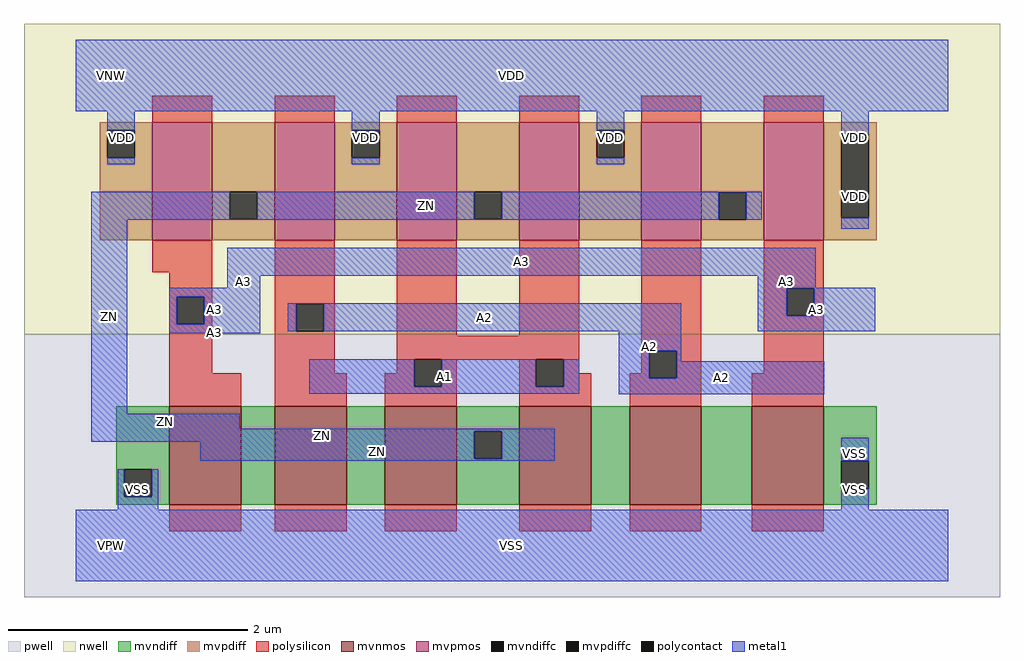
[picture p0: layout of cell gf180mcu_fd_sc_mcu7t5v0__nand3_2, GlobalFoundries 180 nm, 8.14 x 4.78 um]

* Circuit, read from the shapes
.subckt gf180mcu_fd_sc_mcu7t5v0__nand3_2 A1 A2 A3 ZN VDD VNW VPW VSS
XM1 n1 A3 VSS VPW nfet_06v0 w=0.82u l=0.6u
XM2 n2 A2 n1 VPW nfet_06v0 w=0.82u l=0.6u
XM3 ZN A1 n2 VPW nfet_06v0 w=0.82u l=0.6u
XM4 n3 A1 ZN VPW nfet_06v0 w=0.82u l=0.6u
XM5 n4 A2 n3 VPW nfet_06v0 w=0.82u l=0.6u
XM6 VSS A3 n4 VPW nfet_06v0 w=0.82u l=0.6u
XM7 ZN A3 VDD VNW pfet_06v0 w=0.985u l=0.5u m=2
XM8 VDD A2 ZN VNW pfet_06v0 w=0.985u l=0.5u m=2
XM9 ZN A1 VDD VNW pfet_06v0 w=0.985u l=0.5u m=2
.ends

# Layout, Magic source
magic
tech gf180mcuD
magscale 1 10
<< nwell >>
rect -86 352 1542 870
<< pwell >>
rect -86 -86 1542 352
<< mvnmos >>
rect 156 68 276 232
rect 332 68 452 232
rect 516 68 636 232
rect 740 68 860 232
rect 924 68 1044 232
rect 1128 68 1248 232
<< mvpmos >>
rect 128 509 228 706
rect 332 509 432 706
rect 536 509 636 706
rect 740 509 840 706
rect 944 509 1044 706
rect 1148 509 1248 706
<< mvndiff >>
rect 68 127 156 232
rect 68 81 81 127
rect 127 81 156 127
rect 68 68 156 81
rect 276 68 332 232
rect 452 68 516 232
rect 636 191 740 232
rect 636 145 665 191
rect 711 145 740 191
rect 636 68 740 145
rect 860 68 924 232
rect 1044 68 1128 232
rect 1248 141 1336 232
rect 1248 95 1277 141
rect 1323 95 1336 141
rect 1248 68 1336 95
<< mvpdiff >>
rect 40 693 128 706
rect 40 647 53 693
rect 99 647 128 693
rect 40 509 128 647
rect 228 590 332 706
rect 228 544 257 590
rect 303 544 332 590
rect 228 509 332 544
rect 432 693 536 706
rect 432 647 461 693
rect 507 647 536 693
rect 432 509 536 647
rect 636 590 740 706
rect 636 544 665 590
rect 711 544 740 590
rect 636 509 740 544
rect 840 693 944 706
rect 840 647 869 693
rect 915 647 944 693
rect 840 509 944 647
rect 1044 589 1148 706
rect 1044 543 1073 589
rect 1119 543 1148 589
rect 1044 509 1148 543
rect 1248 687 1336 706
rect 1248 547 1277 687
rect 1323 547 1336 687
rect 1248 509 1336 547
<< mvndiffc >>
rect 81 81 127 127
rect 665 145 711 191
rect 1277 95 1323 141
<< mvpdiffc >>
rect 53 647 99 693
rect 257 544 303 590
rect 461 647 507 693
rect 665 544 711 590
rect 869 647 915 693
rect 1073 543 1119 589
rect 1277 547 1323 687
<< polysilicon >>
rect 128 706 228 750
rect 332 706 432 750
rect 536 706 636 750
rect 740 706 840 750
rect 944 706 1044 750
rect 1148 706 1248 750
rect 128 456 228 509
rect 156 415 228 456
rect 156 369 169 415
rect 215 369 228 415
rect 156 287 228 369
rect 332 403 432 509
rect 332 357 368 403
rect 414 357 432 403
rect 332 287 432 357
rect 536 350 636 509
rect 740 350 840 509
rect 536 311 840 350
rect 536 287 565 311
rect 156 232 276 287
rect 332 232 452 287
rect 516 265 565 287
rect 611 310 768 311
rect 611 265 636 310
rect 516 232 636 265
rect 740 265 768 310
rect 814 287 840 311
rect 944 325 1044 509
rect 944 287 957 325
rect 814 265 860 287
rect 740 232 860 265
rect 924 279 957 287
rect 1003 279 1044 325
rect 1148 429 1248 509
rect 1148 383 1186 429
rect 1232 383 1248 429
rect 1148 287 1248 383
rect 924 232 1044 279
rect 1128 232 1248 287
rect 156 24 276 68
rect 332 24 452 68
rect 516 24 636 68
rect 740 24 860 68
rect 924 24 1044 68
rect 1128 24 1248 68
<< polycontact >>
rect 169 369 215 415
rect 368 357 414 403
rect 565 265 611 311
rect 768 265 814 311
rect 957 279 1003 325
rect 1186 383 1232 429
<< metal1 >>
rect 0 724 1456 844
rect 53 693 99 724
rect 53 636 99 647
rect 461 693 507 724
rect 461 636 507 647
rect 869 693 915 724
rect 869 636 915 647
rect 1277 687 1323 724
rect 26 544 257 590
rect 303 544 665 590
rect 711 589 1145 590
rect 711 544 1073 589
rect 26 543 1073 544
rect 1119 543 1145 589
rect 26 220 86 543
rect 1277 528 1323 547
rect 253 450 1235 497
rect 253 430 308 450
rect 156 415 308 430
rect 156 369 169 415
rect 215 369 308 415
rect 1138 430 1235 450
rect 1138 429 1334 430
rect 156 354 308 369
rect 354 403 1010 404
rect 354 357 368 403
rect 414 357 1010 403
rect 1138 383 1186 429
rect 1232 383 1334 429
rect 1138 357 1334 383
rect 906 325 1010 357
rect 390 265 565 311
rect 611 265 768 311
rect 814 265 840 311
rect 390 253 840 265
rect 906 279 957 325
rect 1003 307 1010 325
rect 1003 279 1249 307
rect 906 252 1249 279
rect 26 195 274 220
rect 26 191 799 195
rect 26 173 665 191
rect 208 145 665 173
rect 711 145 799 191
rect 208 141 799 145
rect 1277 141 1323 180
rect 70 81 81 127
rect 127 81 138 127
rect 70 60 138 81
rect 1277 60 1323 95
rect 0 -60 1456 60
<< labels >>
flabel metal1 s 253 450 1235 497 0 FreeSans 400 0 0 0 A3
port 3 nsew default input
flabel metal1 s 0 724 1456 844 0 FreeSans 400 0 0 0 VDD
port 5 nsew power bidirectional abutment
flabel metal1 s 1277 127 1323 180 0 FreeSans 400 0 0 0 VSS
port 8 nsew ground bidirectional abutment
flabel metal1 s 26 543 1145 590 0 FreeSans 400 0 0 0 ZN
port 4 nsew default output
flabel metal1 s 390 253 840 311 0 FreeSans 400 0 0 0 A1
port 1 nsew default input
flabel metal1 s 354 357 1010 404 0 FreeSans 400 0 0 0 A2
port 2 nsew default input
flabel nwell s 10 734 110 834 0 FreeSans 400 0 0 0 VNW
port 6 nsew power bidirectional
flabel pwell s 10 -50 110 50 0 FreeSans 400 0 0 0 VPW
port 7 nsew ground bidirectional
rlabel metal1 s 906 307 1010 357 1 A2
port 2 nsew default input
rlabel metal1 s 906 252 1249 307 1 A2
port 2 nsew default input
rlabel metal1 s 1138 430 1235 450 1 A3
port 3 nsew default input
rlabel metal1 s 253 430 308 450 1 A3
port 3 nsew default input
rlabel metal1 s 1138 357 1334 430 1 A3
port 3 nsew default input
rlabel metal1 s 156 357 308 430 1 A3
port 3 nsew default input
rlabel metal1 s 156 354 308 357 1 A3
port 3 nsew default input
rlabel metal1 s 26 220 86 543 1 ZN
port 4 nsew default output
rlabel metal1 s 26 195 274 220 1 ZN
port 4 nsew default output
rlabel metal1 s 26 173 799 195 1 ZN
port 4 nsew default output
rlabel metal1 s 208 141 799 173 1 ZN
port 4 nsew default output
rlabel metal1 s 1277 636 1323 724 1 VDD
port 5 nsew power bidirectional abutment
rlabel metal1 s 869 636 915 724 1 VDD
port 5 nsew power bidirectional abutment
rlabel metal1 s 461 636 507 724 1 VDD
port 5 nsew power bidirectional abutment
rlabel metal1 s 53 636 99 724 1 VDD
port 5 nsew power bidirectional abutment
rlabel metal1 s 1277 528 1323 636 1 VDD
port 5 nsew power bidirectional abutment
rlabel metal1 s 1277 60 1323 127 1 VSS
port 8 nsew ground bidirectional abutment
rlabel metal1 s 70 60 138 127 1 VSS
port 8 nsew ground bidirectional abutment
rlabel metal1 s 0 -60 1456 60 1 VSS
port 8 nsew ground bidirectional abutment
<< properties >>
string FIXED_BBOX 0 0 1456 784
string GDS_END 716208
string GDS_FILE $PDKPATH/libs.ref/gf180mcu_fd_sc_mcu7t5v0/gds/gf180mcu_fd_sc_mcu7t5v0.gds
string GDS_START 712480
string LEFclass core
string LEFsite GF018hv5v_mcu_sc7
string LEFsymmetry X Y
<< end >>
